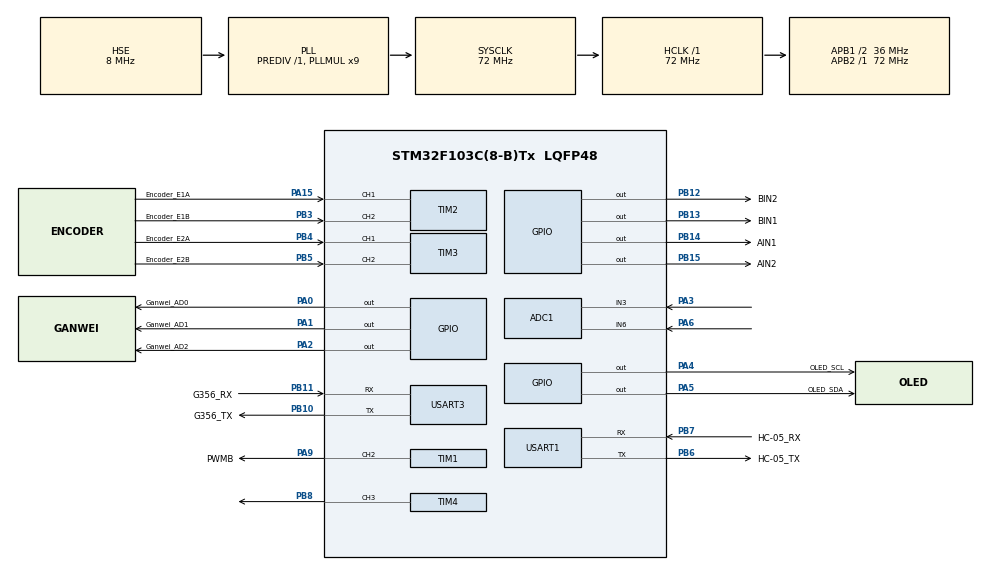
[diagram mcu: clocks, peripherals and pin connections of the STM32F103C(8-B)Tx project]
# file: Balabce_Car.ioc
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ADC1.Channel-0\#ChannelRegularConversion=ADC_CHANNEL_3
ADC1.NbrOfConversionFlag=1
ADC1.Rank-0\#ChannelRegularConversion=1
ADC1.SamplingTime-0\#ChannelRegularConversion=ADC_SAMPLETIME_1CYCLE_5
ADC1.master=1
Mcu.Family=STM32F1
Mcu.Name=STM32F103C(8-B)Tx
Mcu.Package=LQFP48
NVIC.PriorityGroup=NVIC_PRIORITYGROUP_4
NVIC.TIM4_IRQn=true\:1\:0\:false\:false\:true\:true\:true\:true
NVIC.USART1_IRQn=true\:0\:0\:false\:false\:true\:true\:true\:true
NVIC.USART3_IRQn=true\:0\:0\:false\:false\:true\:false\:false\:false
PA0-WKUP.GPIO_Label=Ganwei_AD0
PA0-WKUP.Signal=GPIO_Output
PA1.GPIO_Label=Ganwei_AD1
PA1.Signal=GPIO_Output
PA13.Mode=Serial_Wire
PA13.Signal=SYS_JTMS-SWDIO
PA14.Mode=Serial_Wire
PA14.Signal=SYS_JTCK-SWCLK
PA15.GPIO_Label=Encoder_E1A
PA15.Signal=S_TIM2_CH1_ETR
PA2.GPIO_Label=Ganwei_AD2
PA2.Signal=GPIO_Output
PA3.Signal=ADCx_IN3
PA4.GPIO_Label=OLED_SCL
PA4.Signal=GPIO_Output
PA5.GPIO_Label=OLED_SDA
PA5.Signal=GPIO_Output
PA6.Signal=ADCx_IN6
PA9.GPIO_Label=PWMB
PA9.Signal=S_TIM1_CH2
PB10.GPIO_Label=G356_TX
PB10.Mode=Asynchronous
PB10.Signal=USART3_TX
PB11.GPIO_Label=G356_RX
PB11.Mode=Asynchronous
PB11.Signal=USART3_RX
PB12.GPIO_Label=BIN2
PB12.Signal=GPIO_Output
PB13.GPIO_Label=BIN1
PB13.Signal=GPIO_Output
PB14.GPIO_Label=AIN1
PB14.Signal=GPIO_Output
PB15.GPIO_Label=AIN2
PB15.Signal=GPIO_Output
PB3.GPIO_Label=Encoder_E1B
PB3.Signal=S_TIM2_CH2
PB4.GPIO_Label=Encoder_E2A
PB4.Signal=S_TIM3_CH1
PB5.GPIO_Label=Encoder_E2B
PB5.Signal=S_TIM3_CH2
PB6.GPIO_Label=HC-05_TX
PB6.Mode=Asynchronous
PB6.Signal=USART1_TX
PB7.GPIO_Label=HC-05_RX
PB7.Mode=Asynchronous
PB7.Signal=USART1_RX
PB8.Signal=S_TIM4_CH3
PD0-OSC_IN.Mode=HSE-External-Oscillator
PD0-OSC_IN.Signal=RCC_OSC_IN
PD1-OSC_OUT.Mode=HSE-External-Oscillator
PD1-OSC_OUT.Signal=RCC_OSC_OUT
ProjectManager.HeapSize=0x200
ProjectManager.StackSize=0x400
ProjectManager.TargetToolchain=MDK-ARM V5.32
RCC.ADCPresc=RCC_ADCPCLK2_DIV6
RCC.AHBFreq_Value=72000000
RCC.APB1CLKDivider=RCC_HCLK_DIV2
RCC.APB1Freq_Value=36000000
RCC.APB1TimFreq_Value=72000000
RCC.APB2Freq_Value=72000000
RCC.APB2TimFreq_Value=72000000
RCC.HCLKFreq_Value=72000000
RCC.PLLMUL=RCC_PLL_MUL9
RCC.PLLSourceVirtual=RCC_PLLSOURCE_HSE
RCC.SYSCLKFreq_VALUE=72000000
RCC.SYSCLKSource=RCC_SYSCLKSOURCE_PLLCLK
RCC.USBFreq_Value=72000000
SH.ADCx_IN3.0=ADC1_IN3,IN3
SH.ADCx_IN6.0=ADC1_IN6,IN6
SH.S_TIM1_CH2.0=TIM1_CH2,PWM Generation2 CH2
SH.S_TIM2_CH1_ETR.0=TIM2_CH1,Encoder_Interface
SH.S_TIM2_CH2.0=TIM2_CH2,Encoder_Interface
SH.S_TIM3_CH1.0=TIM3_CH1,Encoder_Interface
SH.S_TIM3_CH2.0=TIM3_CH2,Encoder_Interface
SH.S_TIM4_CH3.0=TIM4_CH3,PWM Generation3 CH3
TIM1.AutoReloadPreload=TIM_AUTORELOAD_PRELOAD_ENABLE
TIM1.Channel-PWM\ Generation2\ CH2=TIM_CHANNEL_2
TIM1.Period=7199
TIM1.Prescaler=0
TIM2.AutoReloadPreload=TIM_AUTORELOAD_PRELOAD_ENABLE
TIM2.EncoderMode=TIM_ENCODERMODE_TI12
TIM3.AutoReloadPreload=TIM_AUTORELOAD_PRELOAD_ENABLE
TIM3.EncoderMode=TIM_ENCODERMODE_TI12
TIM4.AutoReloadPreload=TIM_AUTORELOAD_PRELOAD_ENABLE
TIM4.Channel-PWM\ Generation3\ CH3=TIM_CHANNEL_3
TIM4.Period=7199
TIM4.Prescaler=0
USART1.VirtualMode=VM_ASYNC
USART3.VirtualMode=VM_ASYNC
VP_TIM1_VS_ClockSourceINT.Mode=Internal
VP_TIM4_VS_ClockSourceINT.Mode=Internal
board=custom

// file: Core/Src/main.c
/* USER CODE BEGIN Header */
/**
  ******************************************************************************
  * @file           : main.c
  * @brief          : Main program body
  ******************************************************************************
  * @attention
  *
  * Copyright (c) 2026 STMicroelectronics.
  * All rights reserved.
  *
  * This software is licensed under terms that can be found in the LICENSE file
  * in the root directory of this software component.
  * If no LICENSE file comes with this software, it is provided AS-IS.
  *
  ******************************************************************************
  */
/* USER CODE END Header */
#include "main.h"
#include "adc.h"
#include "tim.h"
#include "usart.h"
#include "gpio.h"

/* USER CODE BEGIN Includes */
#include "g356_app.h"
#include "oled.h"
#include "encoder_motor.h"
#include <string.h>   /* memcpy 用于协议数据读写 */
#include "Ganwei.h"
/* USER CODE END Includes */

/* USER CODE BEGIN PD */
/* 控制输出与速度环参数 */
#define PWM_LIMIT     7199    /* PWM 最大计数值，与定时器周期一致 */
#define SPEED_ILIM    50.0f   /* 速度误差积分限幅 */
#define SPEED_WINDOW  50      /* 每 50 个 1 ms 控制周期更新一次速度环 */
#define GRAY_SCAN_MS  10u     /* 主循环每 10 ms 读取一次八路灰度 */
#define OLED_UPDATE_MS 50u   /* OLED 每 50 ms 刷新一次 */
#define LINE_FOLLOW_ENABLE 1u /* 1：根据灰度调整转向；0：只做原有平衡控制 */
#define LINE_TURN_KP 70.0f    /* 每单位横向误差对应的差速 PWM */
#define LINE_TURN_LIMIT 500.0f /* 限制循迹转向对平衡的干扰 */
#define LINE_DATA_TIMEOUT_MS 100u /* 灰度数据过期后停止按原误差前进 */
#define LINE_LOST_MEMORY_MS 2500u /* 丢线后最多沿最后方向寻找 2500 ms */
#define LINE_SEARCH_PWM 475     /* 丢线搜索时的固定差速 PWM */
#define LINE_RECENTER_FRAMES 1u /* 搜索后 CH2～CH7 任一路检出 1 次即恢复前进 */
#define LINE_RIGHT_HINT_MS 150u /* 右侧边缘见线后短时保留右转方向 */
#define MOTOR_START_DELAY_MS 15000u /* 上电后等待 15 秒再允许启动电机 */
#define ROUNDABOUT_DONE_DEG 280.0f /* 环岛累计转角达到 280 度直接进入 OK */
#define ROUNDABOUT_FIRST_EXIT_CLEAR_MS 50u /* 两侧边缘离线且中间四路见线 50 ms 后再识别入口 */
#define ROUNDABOUT_ENTRY_TARGET_DEG 20.0f /* 两侧入口固定差速转到 20 度后找线 */
#define ROUNDABOUT_YAW_SIGN_LOCK_DEG 2.0f /* 用实际转动的前 2 度确定 yaw 正方向 */
#define ROUNDABOUT_ENTRY_MAX_MS 3000u /* yaw 异常时 3 秒结束强制转弯 */
#define ROUNDABOUT_LINE_CATCH_MS 2500u /* 入岛后最多主动找线 2.5 秒 */
#define ROUNDABOUT_LINE_CATCH_PWM 220.0f /* 找线阶段降低差速 */
#define ROUNDABOUT_W1_ENTRY_SPEED_TARGET -0.9f /* W1 循迹及 IN 转向的速度目标 */
#define ROUNDABOUT_CATCH_SPEED_TARGET -0.9f /* OR 找线阶段的速度目标 */
#define ROUNDABOUT_DONE_REARM_MS 10000u /* OK 后 10 秒内不重新识别路口，保持 OK 而不进入 W1 */
#define ROUNDABOUT_EDGE_ERROR_DELAY_MS 5000u /* OK 后按入岛方向屏蔽部分探头 5 秒 */
#define ROUNDABOUT_ENTRY_PWM 350.0f /* IN 全程朝选定一侧转向的固定差速 PWM */
#define MAP_LAP_YAW_DEG 720.0f /* 外圈与内圈各转一周，合计 720 度 */
#define MAP_LAP_YAW_TOLERANCE_DEG 30.0f /* 到达 690 度后等待灰度居中及角速度稳定 */
#define MAP_LAP_QUARTER_DEG 90.0f /* 净转角每满 90 度增加一个进度 */
#define MAP_LAP_LOOP_SWITCH_DEG 345.0f /* 第一圈接近 360 度后直接开始第二圈 */
#define MAP_LAP_STABLE_GYRO_DPS 15.0f /* 计圈前允许的最大偏航角速度 */
#define MAP_LAP_STABLE_MS 150u /* 角速度稳定且灰度居中需连续保持 150 ms */
#define MAP_LAP_STOP_DELAY_MS 4000u /* 最后一圈确认后继续行驶 4 秒 */

/* 速度环输出的方向系数。若实测纠偏方向相反，应调整该符号。 */
#define SPEED_SIGN    1.0f
/* USER CODE END PD */

/* USER CODE BEGIN PV */
/* 角度环参数，可通过 USART1 调参协议在线修改。角度单位为度。 */
static volatile float  BALANCE_KP   = 460.0f;
static volatile float  BALANCE_KD   = 28.0f;
static volatile float  BALANCE_ZERO = -0.85f;   /* 车体直立时的前倾角设定值 */
static volatile uint8_t s_ctrl_enable = 1;     /* 0：停止输出；1：启用平衡控制 */

/* USART1 调参协议接收状态 */
static uint8_t  s_wf_buf[32];
static uint8_t  s_wf_idx = 0;
static uint32_t s_wf_period    = 20;   /* 遥测上报周期，单位 ms */
static uint32_t s_wf_last_tick = 0;

/* 速度环状态 */
static int32_t  s_enc_sum = 0;
static uint16_t s_enc_cnt = 0;
static float    s_speed_integral = 0.0f;
static float    s_speed_out      = 0.0f;  /* 速度环输出，单位：度 */
static float    s_speed_meas     = 0.0f;  /* 平均编码器计数/控制周期 */

/* 速度环参数，可通过调参协议 CH2 在线修改。 */
static volatile float SPEED_KP     = 3.0f;
static volatile float SPEED_KI     = 0.02f;
static volatile float SPEED_TARGET = -0.9f;    /* 目标编码器计数/控制周期 */

/* 主循环发布循迹结果，控制中断只读取，不进行阻塞式 ADC 采样。 */
static volatile int16_t s_line_turn_pwm = 0;
static volatile uint8_t s_line_valid = 0u;
static volatile uint8_t s_line_search = 0u;
static volatile uint32_t s_line_last_tick = 0u;
static volatile uint32_t s_line_search_start_tick = 0u;

/* 灰度状态由主循环判定，控制中断只消费已计算好的行驶命令。 */
typedef enum {
    ROUND_WAIT_FIRST_EXIT = 0, /* 沿原线首次经过出口 */
    ROUND_CLEAR_FIRST_EXIT,    /* 等待离开首次出口 */
    ROUND_WAIT_ENTRY,          /* 等待首次出口同侧的入口特征 */
    ROUND_ENTRY_TURN,          /* 固定差速向选定方向转至目标角 */
    ROUND_ORBIT,               /* 绕行并累计 yaw */
    ROUND_DONE                 /* 转到 280 度后普通循迹，等待再次入岛 */
} RoundaboutState_t;

typedef enum {
    ROUND_DRIVE_LINE = 0, /* 普通循迹转向 */
    ROUND_DRIVE_ENTRY,    /* IN 阶段的强制入圈转向 */
    ROUND_DRIVE_CATCH,    /* 转到目标角后主动找线 */
    ROUND_DRIVE_ORBIT,    /* 环岛内以灰度循迹为主 */
} RoundaboutDrive_t;

/* 环岛阶段与当前转向命令：主循环更新，定时器中断读取带 volatile 的输出。 */
static volatile RoundaboutState_t s_round_state = ROUND_WAIT_FIRST_EXIT; /* W0/X0/W1/IN/OR/OK 阶段 */
static volatile uint8_t s_round_drive = ROUND_DRIVE_LINE; /* 当前使用哪一种转向控制 */
static volatile int16_t s_round_turn_pwm = 0; /* 环岛动作输出的带方向差速 PWM */
static volatile int8_t s_round_direction = 0; /* 已进入 IN 的方向：-1 左，1 右 */
static int8_t s_round_expected_direction = 0; /* 首次出口锁定的入口侧：-1 左，1 右 */

/* 入圈 yaw：用相邻两帧之差累计，初始 2 度用于确定传感器的正负方向。 */
static uint8_t s_round_turn_tracking = 0u; /* 是否已有上一帧 yaw 可用于求差 */
static float s_round_previous_yaw = 0.0f; /* 上一帧 yaw */
static float s_round_turn_deg = 0.0f; /* 本次入圈累计转角，OLED 显示为 T */
static float s_round_yaw_probe = 0.0f; /* 确定 yaw 正负方向前累计的转角 */
static int8_t s_round_yaw_sign = 0; /* 0 未锁定，±1 表示实际入圈转动的 yaw 符号 */

/* 转到目标角后的找线记录。 */
static uint8_t s_round_orbit_line_latched = 0u; /* IN/OR 中间四路见线后置 1 */
static uint8_t s_round_orbit_catch_enabled = 0u; /* 是否允许定时主动找线 */
static uint32_t s_round_orbit_catch_tick = 0u; /* 主动找线起始时刻，单位 ms */

/* HAL_GetTick() 计时点：分别用于 IN 超时、X0 确认和 OK 后重新识别。 */
static uint32_t s_round_state_tick = 0u; /* IN 开始时刻 */
static uint32_t s_round_clear_tick = 0u; /* X0 满足离开首次出口条件的起始时刻 */
static uint32_t s_round_done_tick = 0u; /* 进入 OK 的时刻 */
static uint32_t s_round_edge_error_hold_tick = 0u; /* OK 后探头屏蔽的起始时刻 */
static uint8_t s_round_edge_error_hold_active = 0u; /* OK 后是否仍需屏蔽部分探头 */
static int8_t s_round_edge_error_hold_direction = 0; /* OK 时保存入圈方向，决定屏蔽哪侧探头 */
static uint8_t s_round_imu_paused = 0u; /* 标记 IMU 数据过期，恢复后补偿部分阶段计时 */
static uint32_t s_round_imu_pause_tick = 0u; /* IMU 暂停起始时刻 */

/* 蓝牙发送 ASCII '1'～'5' 设置整图圈数；命令由 USART1 中断交给主循环。 */
static volatile uint8_t s_lap_pending_target = 0u; /* 中断收到的新目标，主循环取走后清零 */
static volatile uint8_t s_lap_running = 1u; /* 1：继续行驶；0：圈数已到，前进和转向归零 */
static uint8_t s_lap_target = 0u; /* 0：不限圈数；1～5：目标整图圈数 */
static uint8_t s_lap_completed = 0u; /* 已确认完成的整图圈数 */

/* 整图一圈由两段净 yaw 组成；每段反向摇摆会抵消，不按瞬时转角累加。 */
static uint8_t s_lap_yaw_valid = 0u; /* 是否已记录有效的计圈 yaw 起点 */
static float s_lap_previous_yaw = 0.0f; /* 上一帧计圈 yaw */
static float s_lap_phase_yaw = 0.0f; /* 当前段的有符号净转角 */
static float s_lap_first_loop_yaw = 0.0f; /* 第一段结束时保存的转角绝对值 */
static float s_lap_progress_deg = 0.0f; /* OLED 的 A：按 90 度显示的计圈进度 */
static uint8_t s_lap_second_loop = 0u; /* 0：第一段；1：已切换到第二段 */
static uint8_t s_lap_angle_reached = 0u; /* 两段合计达到 690 度门槛 */
static uint32_t s_lap_stable_since = 0u; /* 灰度居中且 yaw 角速度稳定的起始时刻 */
static uint8_t s_lap_stop_pending = 0u; /* 已到目标圈数，正在执行最后 4 秒行驶 */
static uint32_t s_lap_stop_tick = 0u; /* 最后 4 秒行驶的起始时刻 */

/* IMU 初始化期间将 PWM 引脚保持为低电平，防止电机误动作。 */
static void Motor_PwmPins_SetSafeLow(void)
{
    GPIO_InitTypeDef GPIO_InitStruct = {0};

    HAL_GPIO_WritePin(GPIOA, GPIO_PIN_9, GPIO_PIN_RESET); /* TIM1_CH2 / PWMB */
    HAL_GPIO_WritePin(GPIOB, GPIO_PIN_8, GPIO_PIN_RESET); /* TIM4_CH3 / PWMA */

    GPIO_InitStruct.Mode = GPIO_MODE_OUTPUT_PP;
    GPIO_InitStruct.Pull = GPIO_NOPULL;
    GPIO_InitStruct.Speed = GPIO_SPEED_FREQ_LOW;

    GPIO_InitStruct.Pin = GPIO_PIN_9;
    HAL_GPIO_Init(GPIOA, &GPIO_InitStruct);
    GPIO_InitStruct.Pin = GPIO_PIN_8;
    HAL_GPIO_Init(GPIOB, &GPIO_InitStruct);
}

static void Motor_PwmPins_EnableTimerOutput(void)
{
    GPIO_InitTypeDef GPIO_InitStruct = {0};

    GPIO_InitStruct.Mode = GPIO_MODE_AF_PP;
    GPIO_InitStruct.Pull = GPIO_NOPULL;
    GPIO_InitStruct.Speed = GPIO_SPEED_FREQ_LOW;

    GPIO_InitStruct.Pin = GPIO_PIN_9;
    HAL_GPIO_Init(GPIOA, &GPIO_InitStruct);
    GPIO_InitStruct.Pin = GPIO_PIN_8;
    HAL_GPIO_Init(GPIOB, &GPIO_InitStruct);
}
/* USER CODE END PV */

void SystemClock_Config(void);

/* USER CODE BEGIN 0 */
/* 将传感器 yaw 变化限制在 -180～180 度。 */
static float Roundabout_WrapAngle(float angle)
{
    if (angle > 180.0f) angle -= 360.0f;
    if (angle < -180.0f) angle += 360.0f;
    return angle;
}

/* 计圈确认用原始八路状态：CH4/CH5 至少一路见线、CH1/CH8 均离线，
 * 且所有见线探头的平均位置处于中心 ±1；此判断不使用循迹时的探头屏蔽。 */
static uint8_t MapLap_LineCentered(uint8_t state)
{
    static const int8_t positions[8] = {-12, -7, -3, -1, 1, 3, 7, 12};
    int16_t position_sum = 0;
    uint8_t active_count = 0u;

    if ((state & 0x18u) == 0u || (state & 0x81u) != 0u) return 0u;
    for (uint8_t i = 0u; i < 8u; i++) {
        if ((state & (1u << i)) != 0u) {
            position_sum += positions[i];
            active_count++;
        }
    }
    return position_sum >= -(int16_t)active_count &&
           position_sum <= (int16_t)active_count;
}

/* 收到新的 1～5 圈命令时，从下一帧有效 yaw 重新计数；行驶中不重置环岛阶段。 */
static void MapLap_Start(uint8_t target)
{
    uint8_t was_running = s_lap_running;
    s_lap_target = target;
    s_lap_completed = 0u;
    s_lap_yaw_valid = 0u; /* 下一帧有效 yaw 作为新的计圈起点。 */
    s_lap_previous_yaw = 0.0f;
    s_lap_phase_yaw = 0.0f;
    s_lap_first_loop_yaw = 0.0f;
    s_lap_progress_deg = 0.0f;
    s_lap_second_loop = 0u;
    s_lap_angle_reached = 0u;
    s_lap_stable_since = 0u;
    s_lap_stop_pending = 0u;
    s_lap_stop_tick = 0u;
    /* 蓝牙命令从当前时刻重新累计整图圈数。 */
    if (!was_running) {
        /* 已完成上一任务后重新启动，才重置环岛识别；行驶中设圈数不打断入圈。 */
        s_round_state = ROUND_WAIT_FIRST_EXIT;
        s_round_drive = ROUND_DRIVE_LINE;
        s_round_turn_pwm = 0;
        s_round_direction = 0;
        s_round_expected_direction = 0;
        s_round_turn_tracking = 0u;
        s_round_imu_paused = 0u;
        s_round_turn_deg = 0.0f;
        s_round_edge_error_hold_active = 0u;
        s_round_edge_error_hold_direction = 0;
    }
    s_lap_running = 1u;
}

/* 一张地图按两段净 yaw 计角；两段允许转向相反，段内反向摆动会抵消。
 * 达到 690 度后，还需灰度居中和偏航角速度连续稳定 150 ms 才记一圈。 */
static void MapLap_Update(uint8_t gray_state)
{
    G356_Data_t imu;
    float delta;
    float progress;
    float phase_abs;
    uint8_t phase_quarters;
    /* 达到目标圈数后继续按原控制行驶 4 秒，再将前进目标和转向归零；
     * 角度环及目标为零的速度环仍继续运行。 */
    if (s_lap_stop_pending) {
        if (HAL_GetTick() - s_lap_stop_tick >= MAP_LAP_STOP_DELAY_MS) {
            s_lap_stop_pending = 0u;
            s_lap_running = 0u; /* 速度目标和转向归零，角度环继续保持平衡。 */
            s_round_drive = ROUND_DRIVE_LINE;
            s_round_turn_pwm = 0;
        }
        return;
    }
    if (s_lap_target != 0u && !s_lap_running) return;
    if (!G356_App_DataFresh(150u)) {
        s_lap_yaw_valid = 0u;
        s_lap_stable_since = 0u;
        return;
    }
    G356_App_CopyData(&imu);
    if (!s_lap_yaw_valid) {
        s_lap_previous_yaw = imu.yaw;
        s_lap_yaw_valid = 1u;
        return;
    }
    delta = Roundabout_WrapAngle(imu.yaw - s_lap_previous_yaw);
    s_lap_previous_yaw = imu.yaw;
    if (delta <= -45.0f || delta >= 45.0f) {
        s_lap_stable_since = 0u;
        return; /* 忽略异常跳变。 */
    }
    s_lap_phase_yaw += delta;
    phase_abs = s_lap_phase_yaw < 0.0f ? -s_lap_phase_yaw : s_lap_phase_yaw;
    if (!s_lap_second_loop && phase_abs >= MAP_LAP_LOOP_SWITCH_DEG) {
        /* 第一段净转角达到 345 度时保存进度，并从当前航向开始第二段。 */
        s_lap_first_loop_yaw = phase_abs;
        s_lap_second_loop = 1u;
        s_lap_phase_yaw = 0.0f;
        phase_abs = 0.0f;
    }
    phase_quarters = phase_abs >= 4.0f * MAP_LAP_QUARTER_DEG -
                                  MAP_LAP_YAW_TOLERANCE_DEG ?
                     4u : (uint8_t)(phase_abs / MAP_LAP_QUARTER_DEG);
    s_lap_progress_deg = (float)((s_lap_second_loop ? 4u : 0u) +
                                 phase_quarters) * MAP_LAP_QUARTER_DEG;
    progress = s_lap_first_loop_yaw + phase_abs;

    if (!s_lap_angle_reached && s_lap_second_loop &&
        progress >= MAP_LAP_YAW_DEG - MAP_LAP_YAW_TOLERANCE_DEG) {
        s_lap_angle_reached = 1u;
        s_lap_stable_since = 0u; /* 从到达目标角后才开始计稳定时间。 */
    }
    if (s_lap_angle_reached &&
        MapLap_LineCentered(gray_state) &&
        imu.gyro_z > -MAP_LAP_STABLE_GYRO_DPS &&
        imu.gyro_z < MAP_LAP_STABLE_GYRO_DPS) {
        if (s_lap_stable_since == 0u) s_lap_stable_since = HAL_GetTick();
    } else {
        s_lap_stable_since = 0u;
    }

    /* 角度门槛一旦达到便保持置位；即使随后转过 720 度，仍可等待稳定条件。 */
    if (s_lap_running &&
        s_lap_angle_reached &&
        s_lap_stable_since != 0u &&
        HAL_GetTick() - s_lap_stable_since >= MAP_LAP_STABLE_MS) {
        if (s_lap_completed < 9u) s_lap_completed++;
        s_lap_phase_yaw = 0.0f;
        s_lap_first_loop_yaw = 0.0f;
        s_lap_progress_deg = 0.0f;
        s_lap_second_loop = 0u;
        s_lap_angle_reached = 0u;
        s_lap_stable_since = 0u;
        s_lap_previous_yaw = imu.yaw; /* 从当前 yaw 开始累计下一圈。 */
        if (s_lap_target != 0u && s_lap_completed >= s_lap_target) {
            s_lap_stop_pending = 1u;
            s_lap_stop_tick = HAL_GetTick(); /* 保持原有行驶控制再运行 4 秒。 */
        }
    }
}

/* 入岛时从 0 度累计实际 yaw：先用前 2 度确定正方向，之后反向转动扣回。 */
static void Roundabout_CountTurn(float yaw)
{
    if (s_round_turn_tracking) {
        float delta = Roundabout_WrapAngle(yaw - s_round_previous_yaw);
        if (delta > -45.0f && delta < 45.0f) {
            /* 从实际转动方向学习 yaw 符号，反向转动仍会扣回累计角。 */
            if (s_round_yaw_sign == 0) {
                s_round_yaw_probe += delta;
                if (s_round_yaw_probe >= ROUNDABOUT_YAW_SIGN_LOCK_DEG) {
                    s_round_yaw_sign = 1;
                    s_round_turn_deg = s_round_yaw_probe;
                } else if (s_round_yaw_probe <= -ROUNDABOUT_YAW_SIGN_LOCK_DEG) {
                    s_round_yaw_sign = -1;
                    s_round_turn_deg = -s_round_yaw_probe;
                }
            } else {
                s_round_turn_deg += delta * (float)s_round_yaw_sign;
            }
        }
    }
    s_round_previous_yaw = yaw;
    s_round_turn_tracking = 1u;
}

static int16_t Roundabout_EntryPwm(void)
{
    return (int16_t)((float)s_round_direction * ROUNDABOUT_ENTRY_PWM);
}

static void Roundabout_StartEntry(int8_t direction, uint32_t now,
                                  const G356_Data_t *imu)
{
    /* 新一轮入岛不沿用上一轮 OK 后的出岛探头屏蔽。 */
    s_round_edge_error_hold_active = 0u;
    s_round_edge_error_hold_direction = 0;
    s_round_direction = direction;
    s_round_previous_yaw = imu->yaw;
    s_round_turn_tracking = 1u;
    s_round_turn_deg = 0.0f;
    s_round_yaw_probe = 0.0f;
    s_round_yaw_sign = 0;
    s_round_orbit_line_latched = 0u;
    s_round_orbit_catch_enabled = 0u;
    s_round_state_tick = now;
    s_round_state = ROUND_ENTRY_TURN;
    s_round_drive = ROUND_DRIVE_ENTRY;
    s_round_turn_pwm = Roundabout_EntryPwm();
}

/* state 的 bit0～bit7 分别代表 CH1～CH8；黑线为 1。
 * 首次出口左侧要求 CH1=1、CH2/CH3=0、CH4～CH6 至少一路见线；
 * 右侧镜像要求 CH8=1、CH7/CH6=0、CH3～CH5 至少一路见线。
 * W1 左侧入口只要求 CH1/CH2 至少一路见线；右侧镜像只要求
 * CH7/CH8 至少一路见线。
 * 阶段顺序：W0 首次出口 → X0 离开出口 → W1 等入口 → IN 转向 →
 * OR 绕岛 → OK 普通循迹；入口方向在 W0 首次出口时锁定。 */
static void Roundabout_Update(uint8_t state, uint32_t now)
{
    uint8_t center_four = (state & 0x3Cu) != 0u; /* CH3～CH6 任一路。 */
    uint8_t left_middle = (state & 0x38u) != 0u; /* CH4、CH5、CH6 任一路。 */
    uint8_t right_middle = (state & 0x1Cu) != 0u; /* CH3、CH4、CH5 任一路。 */
    uint8_t first_left = left_middle && (state & 0x04u) == 0u &&
                         (state & 0x03u) == 0x01u;
    uint8_t first_right = right_middle && (state & 0x20u) == 0u &&
                          (state & 0xC0u) == 0x80u;
    uint8_t left_entry = (state & 0x03u) != 0u;
    uint8_t right_entry = (state & 0xC0u) != 0u;
    G356_Data_t imu;

    s_round_drive = ROUND_DRIVE_LINE;
    s_round_turn_pwm = 0;

    if (!G356_App_DataFresh(150u)) {
        if (!s_round_imu_paused) {
            s_round_imu_pause_tick = now;
            s_round_imu_paused = 1u;
        }
        s_round_turn_tracking = 0u;
        return;
    }
    if (s_round_imu_paused) {
        /* IMU 暂停期间不消耗入口等待及 OK 后重新识别的间隔。 */
        uint32_t pause_ms = now - s_round_imu_pause_tick;
        if (s_round_state >= ROUND_ENTRY_TURN && s_round_state <= ROUND_ORBIT) {
            s_round_state_tick += pause_ms;
        }
        if (s_round_state == ROUND_DONE) {
            s_round_done_tick += pause_ms;
        }
        if (s_round_state == ROUND_ORBIT && s_round_orbit_catch_enabled &&
            !s_round_orbit_line_latched) {
            s_round_orbit_catch_tick += pause_ms;
        }
        s_round_imu_paused = 0u;
    }
    G356_App_CopyData(&imu);

    if (s_round_state >= ROUND_ENTRY_TURN &&
        s_round_state <= ROUND_ORBIT) {
        Roundabout_CountTurn(imu.yaw);
    }

    switch (s_round_state) {
    case ROUND_WAIT_FIRST_EXIT:
    case ROUND_DONE:
        if (s_round_state == ROUND_DONE &&
            now - s_round_done_tick < ROUNDABOUT_DONE_REARM_MS) {
            break;
        }
        /* 从任一方向接近时，首次检出边缘支线就按出口跳过。 */
        if (first_left != first_right) {
            s_round_expected_direction = first_left ? -1 : 1;
            s_round_state = ROUND_CLEAR_FIRST_EXIT;
            s_round_clear_tick = 0u;
        }
        break;
    case ROUND_CLEAR_FIRST_EXIT:
        /* CH1/CH2/CH7/CH8 均离线，CH3～CH6 任一路见线持续 50 ms，才开放 W1。 */
        if ((state & 0xC3u) == 0u && center_four) {
            if (s_round_clear_tick == 0u) s_round_clear_tick = now;
            if (now - s_round_clear_tick >= ROUNDABOUT_FIRST_EXIT_CLEAR_MS) {
                s_round_state = ROUND_WAIT_ENTRY;
            }
        } else {
            s_round_clear_tick = 0u;
        }
        break;
    case ROUND_WAIT_ENTRY:
        /* 方向由首次出口锁定；同侧边缘任一路单次见线就进入 IN。 */
        if ((s_round_expected_direction < 0 && left_entry) ||
            (s_round_expected_direction > 0 && right_entry)) {
            Roundabout_StartEntry(s_round_expected_direction, now, &imu);
        }
        break;
    case ROUND_ENTRY_TURN:
        /* 固定 350 PWM 转到 20 度；超时路径不启用定时找线。 */
        if (s_round_turn_deg >= ROUNDABOUT_ENTRY_TARGET_DEG ||
            now - s_round_state_tick >= ROUNDABOUT_ENTRY_MAX_MS) {
            /* 中间四路见线就直接循迹，否则沿入圈方向主动找线。 */
            s_round_state = ROUND_ORBIT;
            s_round_orbit_catch_tick = now;
            s_round_orbit_catch_enabled =
                s_round_turn_deg >= ROUNDABOUT_ENTRY_TARGET_DEG;
            s_round_orbit_line_latched =
                s_round_orbit_catch_enabled && s_line_valid &&
                (state & 0x3Cu) != 0u && state != 0xFFu;
            s_round_drive = s_round_orbit_catch_enabled && !s_round_orbit_line_latched ?
                ROUND_DRIVE_CATCH : ROUND_DRIVE_ORBIT;
            s_round_turn_pwm = (int16_t)((float)s_round_direction * ROUNDABOUT_LINE_CATCH_PWM);
        } else {
            s_round_drive = ROUND_DRIVE_ENTRY;
            s_round_turn_pwm = Roundabout_EntryPwm();
        }
        break;
    case ROUND_ORBIT:
        /* 转过 20 度后 CH3～CH6 任一路见线即交给循迹。 */
        if (!s_round_orbit_line_latched && s_line_valid &&
            (state & 0x3Cu) != 0u && state != 0xFFu) {
            s_round_orbit_line_latched = 1u;
        }
        if (!s_round_orbit_line_latched && s_round_orbit_catch_enabled &&
            now - s_round_orbit_catch_tick < ROUNDABOUT_LINE_CATCH_MS) {
            s_round_drive = ROUND_DRIVE_CATCH;
            s_round_turn_pwm = (int16_t)((float)s_round_direction * ROUNDABOUT_LINE_CATCH_PWM);
        } else {
            s_round_drive = ROUND_DRIVE_ORBIT;
        }
        if (s_round_turn_deg >= ROUNDABOUT_DONE_DEG) {
            /* 不等待出口灰度特征，直接恢复普通循迹。 */
            s_round_state = ROUND_DONE;
            s_round_done_tick = now;
            s_round_edge_error_hold_tick = now;
            s_round_edge_error_hold_direction = s_round_direction;
            s_round_edge_error_hold_active = s_round_direction != 0;
            s_round_drive = ROUND_DRIVE_LINE;
        }
        break;
    default:
        break;
    }
}

/* 右侧显示阶段和累计转角；第四行仍由灰度模块显示 CH1～CH8。 */
static void Roundabout_Show(void)
{
    const char *label = "--";
    switch (s_round_state) {
    case ROUND_WAIT_FIRST_EXIT: label = "W0"; break;
    case ROUND_CLEAR_FIRST_EXIT: label = "X0"; break;
    case ROUND_WAIT_ENTRY: label = "W1"; break;
    case ROUND_ENTRY_TURN: label = "IN"; break;
    case ROUND_ORBIT: label = "OR"; break;
    case ROUND_DONE: label = "OK"; break;
    default: break;
    }
    uint8_t lap_text[5] = {
        (uint8_t)('0' + s_lap_completed), '/',
        s_lap_target == 0u ? '-' : (uint8_t)('0' + s_lap_target), ' ', 0
    };
    OLED_ShowString(88,0,lap_text,16,1); /* 已完成圈数/蓝牙设定圈数。 */
    OLED_ShowString(96,16,(uint8_t *)label,16,1);
    OLED_ShowString(80,32,(uint8_t *)"T:",8,1);
    OLED_ShowFloat(92,32,s_round_turn_deg,0,6,8,1);
    OLED_ShowString(80,40,(uint8_t *)"A:",8,1);
    OLED_ShowFloat(92,40,s_lap_progress_deg,0,6,8,1);
}

/* 用探头中心位置的加权平均计算横向偏差：左负、右正。 */
static void Line_Follow_Update(uint8_t state, uint32_t now)
{
    static const int8_t positions[8] = {-12, -7, -3, -1, 1, 3, 7, 12};
    static int8_t last_direction = 0; /* -1：上次在左侧；1：上次在右侧。 */
    static uint8_t mode = 0u; /* 0：跟线；1：锁定方向搜索；2：超时后等待中央回线。 */
    static uint8_t center_frames = 0u;
    static uint8_t right_edge_seen = 0u;
    static uint32_t right_edge_tick = 0u;
    uint8_t follow_state = state;
    int16_t position_sum = 0;
    uint8_t active_count = 0u;

    /* X0/W1 仅用 CH4/CH5；IN 固定转向期间用 CH3～CH6 准备接管循迹。 */
    if (s_round_state >= ROUND_CLEAR_FIRST_EXIT &&
        s_round_state < ROUND_ENTRY_TURN) {
        follow_state &= 0x18u;
    } else if (s_round_state == ROUND_ENTRY_TURN) {
        follow_state &= 0x3Cu;
    } else if (s_round_edge_error_hold_active &&
               now - s_round_edge_error_hold_tick < ROUNDABOUT_EDGE_ERROR_DELAY_MS) {
        /* 右进圈：去掉 CH1/CH2/CH8；左进圈：镜像去掉 CH1/CH7/CH8。 */
        follow_state &= s_round_edge_error_hold_direction > 0 ? 0x7Cu : 0x3Eu;
    } else if (s_round_state == ROUND_DONE) {
        /* 延迟结束后，CH1～CH8 都可以参与出岛后的循迹误差。 */
    } else if ((state & 0x18u) != 0u && (state & 0x81u) != 0u) {
        /* 其他阶段沿用原规则：出入口处的 CH1/CH8 不拉偏误差。 */
        follow_state &= 0x7Eu;
    }
    if (s_round_state >= ROUND_ENTRY_TURN && s_round_state <= ROUND_ORBIT) {
        /* 右侧入圈忽略 CH1；左侧入圈镜像忽略 CH8。 */
        if (s_round_direction > 0) {
            follow_state &= 0xFEu;
        } else if (s_round_direction < 0) {
            follow_state &= 0x7Fu;
        }
    }
    if (s_round_edge_error_hold_active &&
        now - s_round_edge_error_hold_tick >= ROUNDABOUT_EDGE_ERROR_DELAY_MS) {
        s_round_edge_error_hold_active = 0u;
        s_round_edge_error_hold_direction = 0;
    }

    for (uint8_t i = 0u; i < 8u; i++) {
        if ((follow_state & (1u << i)) != 0u) {
            position_sum += positions[i];
            active_count++;
        }
    }

    float line_error = active_count ? (float)position_sum / (float)active_count : 0.0f;
    float abs_error = line_error < 0.0f ? -line_error : line_error;
    uint8_t centered = ((state & 0x18u) != 0u) && (state != 0xFFu) &&
                       (abs_error <= 1.0f);
    /* 丢线恢复看原始 CH2～CH7，不使用上面为当前阶段屏蔽过的 follow_state。 */
    uint8_t line_reacquired = ((state & 0x7Eu) != 0u) && (state != 0xFFu);

    if (mode == 1u) { /* 搜索时忽略边缘探头，不覆盖已经锁定的方向。 */
        if (now - s_line_search_start_tick >= LINE_LOST_MEMORY_MS) {
            mode = 2u;
            center_frames = 0u;
            last_direction = 0;
            right_edge_seen = 0u;
        } else {
            center_frames = line_reacquired ? (uint8_t)(center_frames + 1u) : 0u;
            if (center_frames < LINE_RECENTER_FRAMES) {
                s_line_valid = 0u; /* 搜索中目标前进速度为零。 */
                s_line_turn_pwm = (int16_t)(last_direction * LINE_SEARCH_PWM);
                s_line_search = 1u;
                return;
            }
            mode = 0u;
            center_frames = 0u;
        }
    }

    if (mode == 2u) { /* 超时后不因边缘碰线重新启动，等待中央回线。 */
        center_frames = line_reacquired ? (uint8_t)(center_frames + 1u) : 0u;
        if (center_frames < LINE_RECENTER_FRAMES) {
            s_line_valid = 0u;
            s_line_search = 0u;
            s_line_turn_pwm = 0;
            return;
        }
        mode = 0u;
        center_frames = 0u;
    }

    if (active_count == 0u) {
        int8_t search_direction = last_direction;
        if (right_edge_seen && (now - right_edge_tick <= LINE_RIGHT_HINT_MS)) {
            search_direction = 1; /* 右侧刚见线时，抵抗最后一帧的反向误判。 */
        }
        s_line_valid = 0u;
        if (search_direction != 0 &&
            (now - s_line_last_tick <= LINE_DATA_TIMEOUT_MS)) {
            s_line_search_start_tick = now;
            last_direction = search_direction; /* 搜索期间锁定方向。 */
            s_line_turn_pwm = (int16_t)(search_direction * LINE_SEARCH_PWM);
            s_line_search = 1u;
            mode = 1u;
        } else {
            s_line_turn_pwm = 0;
            s_line_search = 0u;
            last_direction = 0;
            right_edge_seen = 0u;
            mode = 2u;
        }
        return;
    }

    /* 只补强右转：右侧 CH6～CH8 占优时记录，明确偏左时取消。 */
    if ((follow_state & 0xE0u) != 0u && (follow_state & 0x07u) == 0u && line_error > 0.0f) {
        right_edge_tick = now;
        right_edge_seen = 1u;
    } else if ((follow_state & 0x07u) != 0u && line_error < 0.0f) {
        right_edge_seen = 0u;
    }

    if (centered) {
        last_direction = 0; /* 回到中央后立即清除上次的转弯方向。 */
    } else {
        if (line_error < 0.0f) {
            last_direction = -1;
        } else if (line_error > 0.0f) {
            last_direction = 1;
        } else {
            last_direction = 0;
        }
    }
    float turn_pwm = LINE_TURN_KP * line_error;
    if (turn_pwm > LINE_TURN_LIMIT) turn_pwm = LINE_TURN_LIMIT;
    if (turn_pwm < -LINE_TURN_LIMIT) turn_pwm = -LINE_TURN_LIMIT;

    s_line_turn_pwm = (int16_t)turn_pwm;
    s_line_last_tick = now;
    s_line_search = 0u;
    s_line_valid = 1u;
}

/* USART1 调参协议：小端序；校验和为包头至最后一个参数的 8 位累加和。
 * CH1 为角度环，CH2 为速度环；角度遥测值为前倾角乘 100。 */

/* 发送一帧调参协议数据。 */
static void WF_SendFrame(uint8_t cmd, uint8_t ch, const uint8_t *data, uint8_t num)
{
    uint8_t frame[32];
    uint8_t fi = 0, sum = 0, i;
    uint8_t numB = (uint8_t)(num * 4);
    uint32_t len = 0x0B + numB;   /* 总帧长，包含校验字节 */

    frame[fi++] = 0x53; frame[fi++] = 0x5A; frame[fi++] = 0x48; frame[fi++] = 0x59;
    frame[fi++] = ch;
    frame[fi++] = (uint8_t)(len & 0xFF);
    frame[fi++] = (uint8_t)((len >> 8) & 0xFF);
    frame[fi++] = (uint8_t)((len >> 16) & 0xFF);
    frame[fi++] = (uint8_t)((len >> 24) & 0xFF);
    frame[fi++] = cmd;
    for (i = 0; i < numB; i++) frame[fi++] = data[i];
    for (i = 0; i < fi; i++) sum += frame[i];   /* 累加校验 */
    frame[fi++] = sum;

    HAL_UART_Transmit(&huart1, frame, fi, 10);
}

/* 发送实际值（0x02）：CH1 为角度×100，CH2 为速度×10000。 */
static void WF_UploadActual(uint8_t ch, int value) { WF_SendFrame(0x02, ch, (uint8_t *)&value, 1); }
/* 发送目标值（0x01）。 */
static void WF_UploadTarget(uint8_t ch, int value) { WF_SendFrame(0x01, ch, (uint8_t *)&value, 1); }
/* 发送 PID 参数（0x03）：CH1 回传角度环 P/D，CH2 回传速度环 P/I。 */
static void WF_UploadPID(uint8_t ch)
{
    float p, i, d;
    if (ch == 0x02) {
        p = SPEED_KP; i = SPEED_KI; d = 0.0f;
    } else {
        p = BALANCE_KP; i = 0.0f; d = BALANCE_KD;
    }
    uint8_t data[12];
    memcpy(&data[0], &p, 4);
    memcpy(&data[4], &i, 4);
    memcpy(&data[8], &d, 4);
    WF_SendFrame(0x03, ch, data, 3);
}

/* 解析并执行上位机命令。当前接收层只校验总帧长与校验和，
 * 这里没有按命令检查参数长度；短帧可能把校验字节或缓存旧字节当参数。 */
static void WF_Dispatch(const uint8_t *f, uint16_t len)
{
    uint8_t cmd = f[9];
    uint8_t ch  = f[4];
    (void)len;
    switch (cmd) {
        case 0x10: { /* 设置 P/I/D，数据偏移分别为 10、14、18。 */
            float p, i, d;
            memcpy(&p, &f[10], 4);
            memcpy(&i, &f[14], 4);
            memcpy(&d, &f[18], 4);
            if (ch == 0x02) {
                SPEED_KP = p; SPEED_KI = i;
            } else {
                BALANCE_KP = p; BALANCE_KD = d;
            }
            WF_UploadPID(ch); /* 回传当前通道参数。 */
            break;
        }
        case 0x11: { /* 设置目标值。 */
            int t;
            memcpy(&t, &f[10], 4);
            if (ch == 0x02) {
                SPEED_TARGET = (float)t / 10000.0f;
            } else {
                BALANCE_ZERO = (float)t / 100.0f;
            }
            WF_UploadTarget(ch, t);
            break;
        }
        case 0x12: s_ctrl_enable = 1; break;       /* 启动平衡控制。 */
        case 0x13: s_ctrl_enable = 0; break;       /* 停止并将电机输出归零。 */
        case 0x14: HAL_NVIC_SystemReset(); break;  /* 复位 MCU。 */
        case 0x15: { /* 设置遥测周期，单位 ms，范围 5～500。 */
            uint32_t t;
            memcpy(&t, &f[10], 4);
            if (t >= 5 && t <= 500) s_wf_period = t;
            break;
        }
        default: break;
    }
}

/* USART1 接收回调逐字节调用本函数；找到完整帧后校验并分发命令。 */
void PID_Cmd_OnByte(uint8_t ch)
{
    uint8_t i;
    uint32_t hdr;
    uint32_t len;
    uint8_t sum;

    /* HC-05 与调参协议共用 USART1；只在没有二进制帧时接收单字节圈数。 */
    if (s_wf_idx == 0u) {
        if (ch >= '1' && ch <= '5') {
            s_lap_pending_target = (uint8_t)(ch - '0');
            return;
        }
        if (ch == '\r' || ch == '\n') return;
        if (ch != 0x53u) return; /* 二进制调参帧以 0x53 开头。 */
    }

    if (s_wf_idx >= sizeof(s_wf_buf)) s_wf_idx = 0;  /* 丢弃异常缓存状态。 */
    s_wf_buf[s_wf_idx++] = ch;

    while (s_wf_idx >= 11) {   /* 最短帧长为 11 字节。 */
        hdr = (uint32_t)s_wf_buf[0] | ((uint32_t)s_wf_buf[1] << 8) |
              ((uint32_t)s_wf_buf[2] << 16) | ((uint32_t)s_wf_buf[3] << 24);
        if (hdr != 0x59485A53u) {   /* 移除一个字节并重新搜索帧头。 */
            for (i = 1; i < s_wf_idx; i++) s_wf_buf[i-1] = s_wf_buf[i];
            s_wf_idx--;
            continue;
        }
        len = (uint32_t)s_wf_buf[5] | ((uint32_t)s_wf_buf[6] << 8) |
              ((uint32_t)s_wf_buf[7] << 16) | ((uint32_t)s_wf_buf[8] << 24);
        if (len < 11 || len > sizeof(s_wf_buf)) {   /* 长度超出接收缓存范围。 */
            for (i = 1; i < s_wf_idx; i++) s_wf_buf[i-1] = s_wf_buf[i];
            s_wf_idx--;
            continue;
        }
        if (s_wf_idx < len) return;   /* 等待剩余字节。 */
        sum = 0;
        for (i = 0; i < len - 1; i++) sum += s_wf_buf[i];
        if (sum != s_wf_buf[len-1]) {   /* 校验失败，移除一个字节后重新同步。 */
            for (i = 1; i < s_wf_idx; i++) s_wf_buf[i-1] = s_wf_buf[i];
            s_wf_idx--;
            continue;
        }
        WF_Dispatch(s_wf_buf, len);
        for (i = len; i < s_wf_idx; i++) s_wf_buf[i-len] = s_wf_buf[i];
        s_wf_idx -= len;
    }
}
/* USER CODE END 0 */

int main(void)
{

  /* USER CODE BEGIN 1 */
  uint32_t motor_delay_start_tick = 0u;
  uint8_t motors_started = 0u;
  /* USER CODE END 1 */

  /* MCU Configuration--------------------------------------------------------*/

  /* Reset of all peripherals, Initializes the Flash interface and the Systick. */
  HAL_Init();
  motor_delay_start_tick = HAL_GetTick();

  /* Configure the system clock */
  SystemClock_Config();

  /* Initialize all configured peripherals */
  MX_GPIO_Init();
  MX_ADC1_Init();
  MX_TIM1_Init();
  MX_TIM2_Init();
  MX_TIM3_Init();
  MX_USART3_UART_Init();
  MX_USART1_UART_Init();
  MX_TIM4_Init();
  /* 定时器初始化会配置 PWM 复用脚；IMU 初始化期间将其恢复为低电平输出。 */
  Motor_PwmPins_SetSafeLow();
  /* USER CODE BEGIN 2 */

  /* ADC 初始化后校准灰度采样，电机仍保持关闭。 */
  Sensor_Init();

  OLED_Init();
  OLED_Refresh();

  /* 启动 G356 的 USART3 接收。 */
  G356_App_Init();

  /* 启动 USART1 在线调参接收。 */
  UART_Cmd_Init();

  /* 向调参上位机发送角度环初始设定。 */
  WF_UploadTarget(0x01, (int)(BALANCE_ZERO * 100.0f));
  WF_UploadPID(0x01);
  /* 发送速度环初始设定。 */
  WF_UploadTarget(0x02, (int)(SPEED_TARGET * 10000.0f));
  WF_UploadPID(0x02);

  /* 先确认 IMU 已经开始输出有效数据，启动失败时重新下发输出命令。 */
  uint8_t startup_ok = 0u;
  uint8_t startup_retry;

  for (startup_retry = 0u; startup_retry < 3u && !startup_ok; startup_retry++) {
    G356_App_EnableUartOutput();
    startup_ok = G356_App_WaitReady(5000u);
    if (!startup_ok) {
      HAL_Delay(500u);
    }
  }

  if (startup_ok) {
    /* 立即完成传感器校准；15 秒电机等待由主循环非阻塞计时。 */
    startup_ok = 0u;
    for (startup_retry = 0u; startup_retry < 3u && !startup_ok; startup_retry++) {
      startup_ok = G356_App_StartupCalibration();
      if (!startup_ok) {
        G356_App_EnableUartOutput();
        HAL_Delay(500);   /* 重试前短暂等待。 */
      }
    }
  }

  /* USER CODE END 2 */

  /* Infinite loop */
  /* USER CODE BEGIN WHILE */
  uint32_t gray_last_tick = 0u;
  uint32_t oled_last_tick = 0u;
  while (1)
  {
    /* USER CODE END WHILE */

    /* USER CODE BEGIN 3 */

    uint32_t now = HAL_GetTick();

    if (s_lap_pending_target != 0u) {
        uint8_t target = s_lap_pending_target;
        s_lap_pending_target = 0u;
        MapLap_Start(target);
    }

    /* 非阻塞等待：OLED、灰度和串口在 15 秒内继续正常运行。
     * 到时后仍需确认 IMU 最近收到新数据，避免用停住的旧角度启动电机。 */
    if (!motors_started && startup_ok &&
        (now - motor_delay_start_tick >= MOTOR_START_DELAY_MS) &&
        G356_App_DataFresh(150u)) {
        __HAL_TIM_SET_COMPARE(&htim1, TIM_CHANNEL_2, 0);
        __HAL_TIM_SET_COMPARE(&htim4, TIM_CHANNEL_3, 0);
        Motor_PwmPins_EnableTimerOutput();
        HAL_TIM_PWM_Start(&htim1, TIM_CHANNEL_2);
        HAL_TIM_PWM_Start(&htim4, TIM_CHANNEL_3);
        HAL_TIM_Encoder_Start(&htim2, TIM_CHANNEL_ALL);
        HAL_TIM_Encoder_Start(&htim3, TIM_CHANNEL_ALL);
        HAL_TIM_Base_Start_IT(&htim4);
        motors_started = 1u;
    }

    if (now - gray_last_tick >= GRAY_SCAN_MS) {
        gray_last_tick = now;
        uint8_t gray_state = Scan_Sensor_Byte();
        /* 先按当前环岛阶段计算循迹，再用本次灰度更新阶段；新阶段下次扫描生效。 */
        Line_Follow_Update(gray_state, HAL_GetTick());
        if (motors_started && s_lap_running) {
            Roundabout_Update(gray_state, HAL_GetTick());
        }
        MapLap_Update(gray_state);
    }

    /* 按设定周期上传前倾角和平均轮速。 */
    if (now - s_wf_last_tick >= s_wf_period) {
        s_wf_last_tick = now;
        G356_Data_t g;
        G356_App_CopyData(&g);
        WF_UploadActual(0x01, (int)((-g.roll) * 100.0f));
        WF_UploadActual(0x02, (int)(s_speed_meas * 10000.0f));
    }

    if (now - oled_last_tick < OLED_UPDATE_MS) {
        continue;
    }
    oled_last_tick = now;
    G356_Data_t g;
    G356_App_CopyData(&g);

    OLED_ShowString(0,0,(uint8_t *)"P:",16,1);      /* 前倾角，前倾为正。 */
    OLED_ShowFloat(24,0,-g.roll,1,6,16,1);
    OLED_ShowString(0,16,(uint8_t *)"R:",16,1);    /* 横向倾角。 */
    OLED_ShowFloat(24,16,g.pitch,1,6,16,1);
    OLED_ShowString(0,32,(uint8_t *)"Y:",16,1);
    OLED_ShowFloat(24,32,g.yaw,1,6,16,1);
    int8_t search_direction = 0;
    if (s_line_search && HAL_GetTick() - s_line_search_start_tick < LINE_LOST_MEMORY_MS) {
        if (s_line_turn_pwm > 0) search_direction = 1;
        if (s_line_turn_pwm < 0) search_direction = -1;
    }
    if (s_round_state >= ROUND_ENTRY_TURN && s_round_state <= ROUND_ORBIT) {
        search_direction = s_round_direction; /* 环岛期间显示已选定的入口侧。 */
    }
    Roundabout_Show();
    OLED_ShowChar(80,16,
                  search_direction > 0 ? 'R' : (search_direction < 0 ? 'L' : ' '),
                  16,1);
    Send_State_Buffer_Get_OLED();

  }
  /* USER CODE END 3 */
}

void SystemClock_Config(void)
{
  RCC_OscInitTypeDef RCC_OscInitStruct = {0};
  RCC_ClkInitTypeDef RCC_ClkInitStruct = {0};
  RCC_PeriphCLKInitTypeDef PeriphClkInit = {0};

  /** Initializes the RCC Oscillators according to the specified parameters
  * in the RCC_OscInitTypeDef structure.
  */
  RCC_OscInitStruct.OscillatorType = RCC_OSCILLATORTYPE_HSE;
  RCC_OscInitStruct.HSEState = RCC_HSE_ON;
  RCC_OscInitStruct.HSEPredivValue = RCC_HSE_PREDIV_DIV1;
  RCC_OscInitStruct.HSIState = RCC_HSI_ON;
  RCC_OscInitStruct.PLL.PLLState = RCC_PLL_ON;
  RCC_OscInitStruct.PLL.PLLSource = RCC_PLLSOURCE_HSE;
  RCC_OscInitStruct.PLL.PLLMUL = RCC_PLL_MUL9;
  if (HAL_RCC_OscConfig(&RCC_OscInitStruct) != HAL_OK)
  {
    Error_Handler();
  }

  /** Initializes the CPU, AHB and APB buses clocks
  */
  RCC_ClkInitStruct.ClockType = RCC_CLOCKTYPE_HCLK|RCC_CLOCKTYPE_SYSCLK
                              |RCC_CLOCKTYPE_PCLK1|RCC_CLOCKTYPE_PCLK2;
  RCC_ClkInitStruct.SYSCLKSource = RCC_SYSCLKSOURCE_PLLCLK;
  RCC_ClkInitStruct.AHBCLKDivider = RCC_SYSCLK_DIV1;
  RCC_ClkInitStruct.APB1CLKDivider = RCC_HCLK_DIV2;
  RCC_ClkInitStruct.APB2CLKDivider = RCC_HCLK_DIV1;

  if (HAL_RCC_ClockConfig(&RCC_ClkInitStruct, FLASH_LATENCY_2) != HAL_OK)
  {
    Error_Handler();
  }
  PeriphClkInit.PeriphClockSelection = RCC_PERIPHCLK_ADC;
  PeriphClkInit.AdcClockSelection = RCC_ADCPCLK2_DIV6;
  if (HAL_RCCEx_PeriphCLKConfig(&PeriphClkInit) != HAL_OK)
  {
    Error_Handler();
  }
}

/* USER CODE BEGIN 4 */

/* TIM4 更新中断负责控制；OLED 刷新留在主循环中，不阻塞控制计算。 */
void HAL_TIM_PeriodElapsedCallback(TIM_HandleTypeDef *htim)
{
    if (htim->Instance != TIM4) {
        return;
    }

    static uint8_t tick_div = 0;
    if (++tick_div < 10) {   /* TIM4 更新频率 10 kHz，控制频率 1 kHz。 */
        return;
    }
    tick_div = 0;

    if (!G356_App_DataFresh(150u)) { /* IMU 数据超过 150 ms 未更新时停止电机。 */
        Set_Motor_A_Speed(0);
        Set_Motor_B_Speed(0);
        s_speed_integral = 0.0f;
        s_speed_out = 0.0f;
        return;
    }

    /* 读取最近一帧姿态数据。 */
    G356_Data_t g;
    G356_App_CopyData(&g);
    float fwd_tilt_raw = -g.roll;  /* 前倾角，单位度，前倾为正。 */
    float fwd_rate     = -g.gyro_x; /* 前倾角速度，单位度/秒。 */
    /* 读取本控制周期内的编码器计数增量。 */
    int16_t enc_a = Encoder_A_GetCount();
    int16_t enc_b = Encoder_B_GetCount();

    /* 两侧电机镜像安装，编码器方向相反，因此将 B 侧计数取反后合并。 */
    s_enc_sum += (int32_t)enc_a - (int32_t)enc_b;
    uint8_t line_active = LINE_FOLLOW_ENABLE && s_line_valid &&
                          (HAL_GetTick() - s_line_last_tick <= LINE_DATA_TIMEOUT_MS);
    uint8_t line_search = LINE_FOLLOW_ENABLE && s_line_search &&
                          (HAL_GetTick() - s_line_search_start_tick < LINE_LOST_MEMORY_MS);
    uint8_t round_drive = s_round_drive;
    uint8_t round_speed = round_drive == ROUND_DRIVE_ENTRY ||
                          round_drive == ROUND_DRIVE_CATCH;
    /* IN 强制转向和 OR 主动找线可在尚未咬线时前进；其他阶段无有效线则目标速度归零。 */
    uint8_t speed_active = line_active || round_speed;
    if (++s_enc_cnt >= SPEED_WINDOW) {
        float speed_meas = (float)s_enc_sum / (float)SPEED_WINDOW;
        s_speed_meas = speed_meas;
        /* 正常循迹、W1、IN 和 OR 找线的默认行驶目标均为 -0.9。 */
        float speed_target = (round_drive == ROUND_DRIVE_ENTRY ||
                              (s_round_state == ROUND_WAIT_ENTRY && line_active)) ?
                             ROUNDABOUT_W1_ENTRY_SPEED_TARGET :
                             (round_drive == ROUND_DRIVE_CATCH ?
                              ROUNDABOUT_CATCH_SPEED_TARGET :
                              ((LINE_FOLLOW_ENABLE && !speed_active) ?
                               0.0f : SPEED_TARGET));
        if (!s_lap_running) speed_target = 0.0f;
        if (!s_lap_running || (LINE_FOLLOW_ENABLE && !speed_active)) {
            s_speed_integral = 0.0f; /* 清除之前累积的速度误差。 */
        }
        float speed_err  = speed_target - speed_meas;
        s_speed_out = SPEED_KP * speed_err + SPEED_KI * s_speed_integral;
        /* 输出到达限幅且误差仍推动输出继续饱和时，暂停积分。 */
        if (s_lap_running && (!LINE_FOLLOW_ENABLE || speed_active) &&
            ((s_speed_out <  25.0f && s_speed_out > -25.0f) ||
             (s_speed_out >= 25.0f && speed_err < 0.0f)     ||
             (s_speed_out <= -25.0f && speed_err > 0.0f))) {
            s_speed_integral += speed_err;
             if (s_speed_integral >  SPEED_ILIM) s_speed_integral =  SPEED_ILIM;
            if (s_speed_integral < -SPEED_ILIM) s_speed_integral = -SPEED_ILIM;
        }
        s_speed_out = SPEED_KP * speed_err + SPEED_KI * s_speed_integral;
        /* 限制速度环施加到平衡点的角度偏移。 */
        if (s_speed_out >  25.0f) s_speed_out =  25.0f;
        if (s_speed_out < -25.0f) s_speed_out = -25.0f;
        s_enc_sum = 0;
        s_enc_cnt = 0;
    }

    /* 速度环输出修正平衡点；角度环据此计算直立控制量。 */
    float fwd_tilt  = fwd_tilt_raw - BALANCE_ZERO + SPEED_SIGN * s_speed_out;
    float angle_out = (BALANCE_KP * fwd_tilt) + (BALANCE_KD * fwd_rate);

    float turn_out;
    if (round_drive == ROUND_DRIVE_ENTRY ||
        round_drive == ROUND_DRIVE_CATCH) {
        turn_out = (float)s_round_turn_pwm;
    } else if (round_drive == ROUND_DRIVE_ORBIT && !line_active) {
        /* 沿用现有的 2.5 秒丢线超时，只将搜索方向固定为入岛方向。 */
        turn_out = line_search ? (float)s_round_direction * LINE_SEARCH_PWM : 0.0f;
    } else {
        turn_out = (line_active || line_search) ? (float)s_line_turn_pwm : 0.0f;
    }
    if (!s_lap_running) turn_out = 0.0f;

    /* 直立控制量与转向控制量合成为左右轮 PWM。 */
    int pwm_a = (int)(angle_out + turn_out);
    int pwm_b = (int)(angle_out - turn_out);

    /* 停止命令会将电机归零并清除速度环积分。 */
    if (!s_ctrl_enable) {
        pwm_a = 0; pwm_b = 0;
        s_speed_integral = 0.0f; s_speed_out = 0.0f;
    }
    /* 限幅后更新电机 PWM。 */
    if (pwm_a >  PWM_LIMIT) pwm_a =  PWM_LIMIT;
    if (pwm_a < -PWM_LIMIT) pwm_a = -PWM_LIMIT;
    if (pwm_b >  PWM_LIMIT) pwm_b =  PWM_LIMIT;
    if (pwm_b < -PWM_LIMIT) pwm_b = -PWM_LIMIT;
    Set_Motor_A_Speed(pwm_a);
    Set_Motor_B_Speed(pwm_b);
}

/* USER CODE END 4 */

void Error_Handler(void)
{
  __disable_irq();
  while (1)
  {
  }
}
